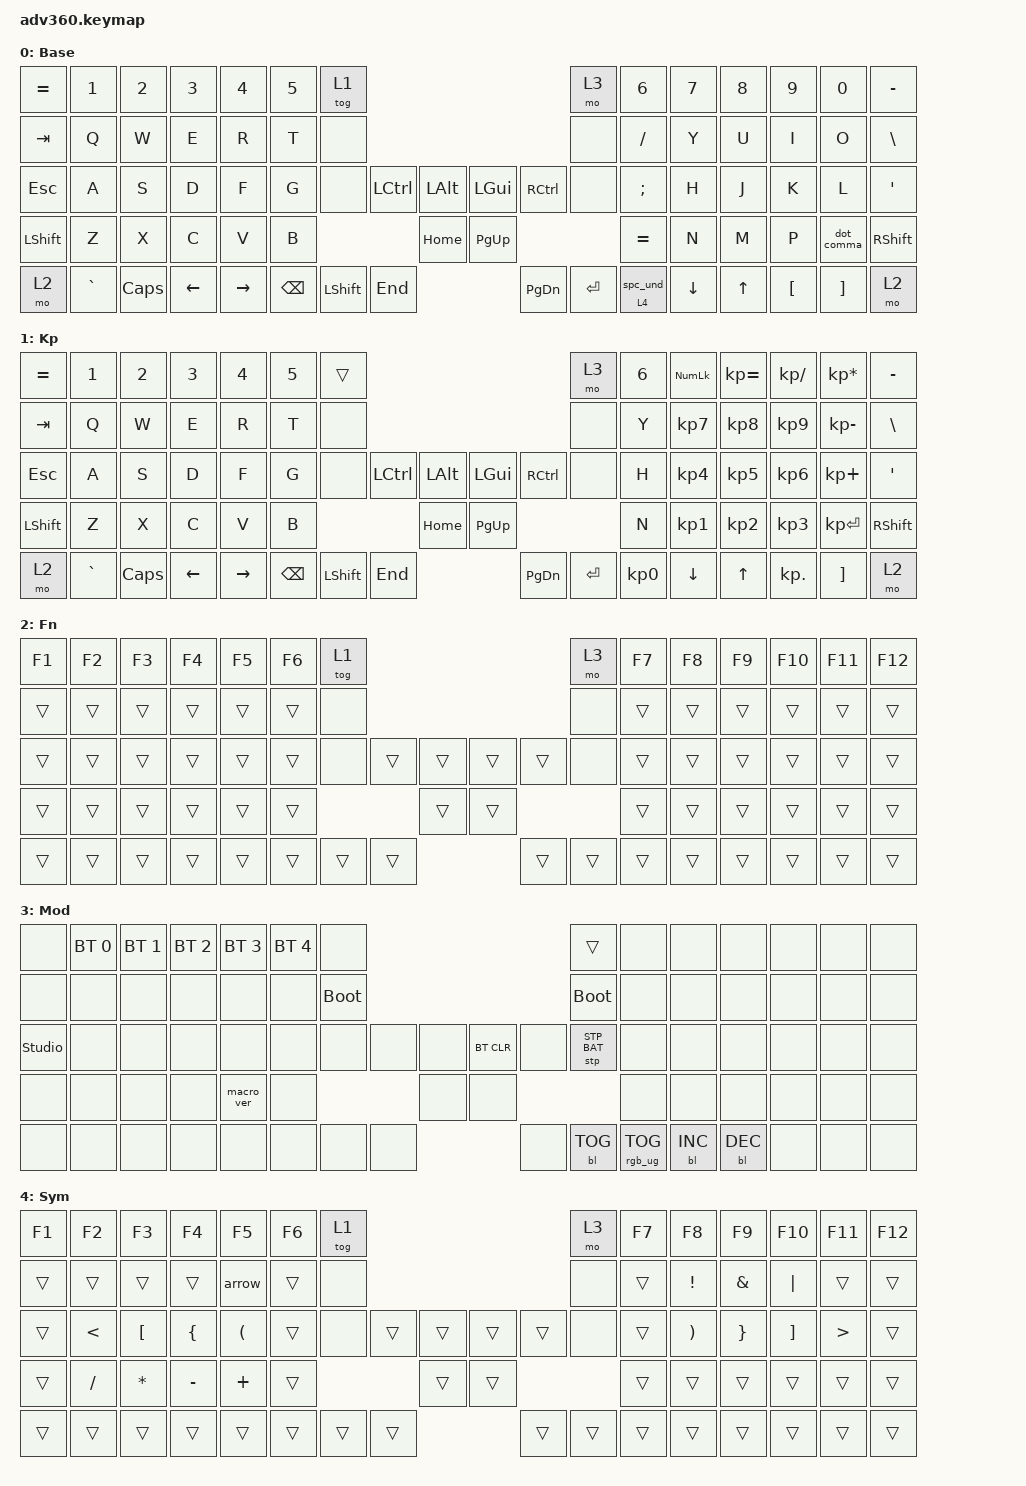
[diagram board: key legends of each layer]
#include <behaviors.dtsi>
#include <dt-bindings/zmk/keys.h>
#include <dt-bindings/zmk/bt.h>
#include <dt-bindings/zmk/rgb.h>
#include <dt-bindings/zmk/stp.h>
#include <dt-bindings/zmk/backlight.h>
#include <dt-bindings/zmk/pointing.h>

/ {
    combos {
        compatible = "zmk,combos";
        // s+d: escape
        combo_esc {
            timeout-ms = <50>;
            key-positions = <30 31>;
            bindings = <&kp ESC>;
        };
        // k+l: tab
        combo_tab {
            timeout-ms = <50>;
            key-positions = <42 43>;
            bindings = <&kp TAB>;
        };
    };

    behaviors {
      #include "macros.dtsi"
      #include "version.dtsi"

      hm: homerow_mods {
          compatible = "zmk,behavior-hold-tap";
          label = "HOMEROW_MODS";
          #binding-cells = <2>;
          tapping-term-ms = <200>;
          quick_tap_ms = <175>;
          flavor = "tap-preferred";
          bindings = <&kp>, <&kp>;
      };

      // tap: space, shift: underscore
      spc_und: space_underscore {
          compatible = "zmk,behavior-mod-morph";
          label = "SPACE_UNDERSCORE";
          #binding-cells = <0>;
          bindings = <&kp SPACE>, <&kp UNDER>;
          mods = <(MOD_LSFT|MOD_RSFT)>;
      };

      // tap: space, held: symbol layer
      spc_layer: space_layer {
          compatible = "zmk,behavior-hold-tap";
          label = "SPACE_LAYER";
          #binding-cells = <2>;
          tapping-term-ms = <200>;
          quick-tap-ms = <175>;
          flavor = "balanced";
          bindings = <&mo>, <&spc_und>;
      };

      // tap: period, shift: comma
      dot_comma: period_comma {
          compatible = "zmk,behavior-mod-morph";
          label = "PERIOD_COMMA";
          #binding-cells = <0>;
          bindings = <&kp DOT>, <&kp COMMA>;
          mods = <(MOD_LSFT|MOD_RSFT)>;
      };
    };

  keymap {
    compatible = "zmk,keymap";

    default_layer {
      display-name = "Base";
      bindings = <
        &kp EQUAL &kp N1    &kp N2   &kp N3   &kp N4     &kp N5 &tog 1                                                           &mo 3 &kp N6    &kp N7   &kp N8 &kp N9   &kp N0     &kp MINUS
        &kp TAB   &kp Q     &kp W    &kp E    &kp R      &kp T  &none                                                            &none &kp FSLH  &kp Y    &kp U  &kp I    &kp O      &kp BSLH
        &kp ESC   &kp A     &kp S    &kp D    &kp F      &kp G  &none           &kp LCTRL &kp LALT &kp LGUI  &kp RCTRL           &none &kp SEMI  &kp H    &kp J  &kp K    &kp L      &kp SQT
        &kp LSHFT &kp Z     &kp X    &kp C    &kp V      &kp B                            &kp HOME &kp PG_UP                           &kp EQUAL &kp N    &kp M  &kp P    &dot_comma &kp RSHFT
        &mo 2     &kp GRAVE &kp CAPS &kp LEFT &kp RIGHT                &kp BSPC &kp LSHFT &kp END  &kp PG_DN &kp ENTER &spc_layer 4 0            &kp DOWN &kp UP &kp LBKT &kp RBKT   &mo 2
      >;
    };
    keypad {
      display-name = "Kp";
      bindings = <
        &kp EQUAL &kp N1    &kp N2   &kp N3   &kp N4     &kp N5 &trans                                                           &mo 3 &kp N6 &kp KP_NUM &kp KP_EQUAL &kp KP_DIVIDE &kp KP_MULTIPLY &kp MINUS
        &kp TAB   &kp Q     &kp W    &kp E    &kp R      &kp T  &none                                                            &none &kp Y  &kp KP_N7  &kp KP_N8    &kp KP_N9     &kp KP_MINUS    &kp BSLH
        &kp ESC   &kp A     &kp S    &kp D    &kp F      &kp G  &none           &kp LCTRL &kp LALT &kp LGUI  &kp RCTRL           &none &kp H  &kp KP_N4  &kp KP_N5    &kp KP_N6     &kp KP_PLUS     &kp SQT
        &kp LSHFT &kp Z     &kp X    &kp C    &kp V      &kp B                            &kp HOME &kp PG_UP                           &kp N  &kp KP_N1  &kp KP_N2    &kp KP_N3     &kp KP_ENTER    &kp RSHFT
        &mo 2     &kp GRAVE &kp CAPS &kp LEFT &kp RIGHT                &kp BSPC &kp LSHFT &kp END  &kp PG_DN &kp ENTER &kp KP_N0              &kp DOWN   &kp UP       &kp KP_DOT    &kp RBKT        &mo 2
      >;
    };
    fn {
      display-name = "Fn";
      bindings = <
        &kp F1 &kp F2 &kp F3 &kp F4 &kp F5 &kp F6 &tog 1                                           &mo 3 &kp F7 &kp F8 &kp F9 &kp F10 &kp F11 &kp F12
        &trans &trans &trans &trans &trans &trans &none                                            &none &trans &trans &trans &trans  &trans  &trans
        &trans &trans &trans &trans &trans &trans &none        &trans &trans &trans &trans         &none &trans &trans &trans &trans  &trans  &trans
        &trans &trans &trans &trans &trans &trans                      &trans &trans                     &trans &trans &trans &trans  &trans  &trans
        &trans &trans &trans &trans &trans               &trans &trans &trans &trans &trans &trans              &trans &trans &trans  &trans  &trans
      >;
    };
    mod {
      display-name = "Mod";
      bindings = <
        &none &bt BT_SEL 0 &bt BT_SEL 1 &bt BT_SEL 2 &bt BT_SEL 3 &bt BT_SEL 4 &none                                                                     &trans       &none &none      &none      &none &none &none
        &none &none        &none        &none        &none        &none        &bootloader                                                               &bootloader  &none &none      &none      &none &none &none
        &studio_unlock     &none        &none        &none        &none        &none       &none             &none &none &bt BT_CLR &none                &stp STP_BAT &none &none      &none      &none &none &none
        &none &none        &none        &none        &macro_ver   &none                                            &none &none                                        &none &none      &none      &none &none &none
        &none &none        &none        &none        &none                                       &none &none &none &none &bl BL_TOG &rgb_ug RGB_TOG                         &bl BL_INC &bl BL_DEC &none &none &none
      >;
    };
    symbol {
      display-name = "Sym";
      bindings = <
        &kp F1 &kp F2   &kp F3   &kp F4    &kp F5   &kp F6 &tog 1                                           &mo 3 &kp F7 &kp F8   &kp F9   &kp F10  &kp F11 &kp F12
        &trans &trans   &trans   &trans    &arrow   &trans &none                                            &none &trans &kp EXCL &kp AMPS &kp PIPE &trans  &trans
        &trans &kp LT   &kp LBKT &kp LBRC  &kp LPAR &trans &none         &trans &trans &trans &trans        &none &trans &kp RPAR &kp RBRC &kp RBKT &kp GT  &trans
        &trans &kp FSLH &kp STAR &kp MINUS &kp PLUS &trans                      &trans &trans                     &trans &trans   &trans   &trans   &trans  &trans
        &trans &trans   &trans   &trans    &trans                 &trans &trans &trans &trans &trans &trans              &trans   &trans   &trans   &trans  &trans
      >;
    };
    extra1 { 
      display-name = "Red";    
      status = "reserved";
    };

    extra2 { 
      display-name = "Purple";    
      status = "reserved";
    };

    extra3 { 
      display-name = "Cyan";    
      status = "reserved";
    };

    extra4 { 
      display-name = "Yellow";    
      status = "reserved";
    };
  };
};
